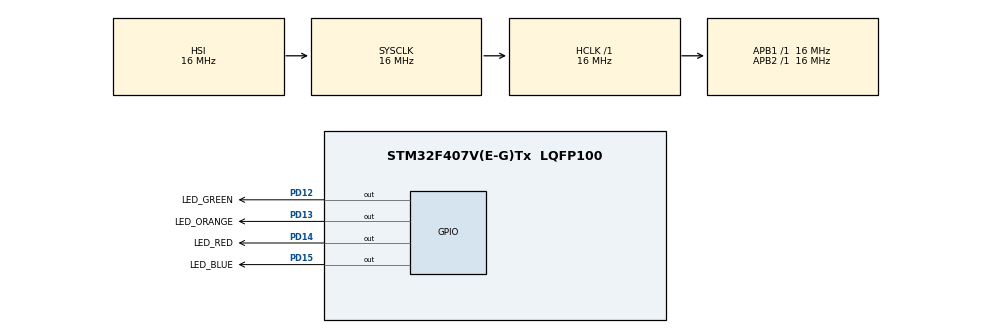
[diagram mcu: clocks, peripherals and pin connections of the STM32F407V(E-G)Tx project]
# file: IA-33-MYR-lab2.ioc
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Mcu.Family=STM32F4
Mcu.Name=STM32F407V(E-G)Tx
Mcu.Package=LQFP100
NVIC.PriorityGroup=NVIC_PRIORITYGROUP_4
NVIC.TIM6_DAC_IRQn=true\:0\:0\:false\:false\:true\:true\:true\:true
PD12.GPIO_Label=LED_GREEN
PD12.Signal=GPIO_Output
PD13.GPIO_Label=LED_ORANGE
PD13.Signal=GPIO_Output
PD14.GPIO_Label=LED_RED
PD14.Signal=GPIO_Output
PD15.GPIO_Label=LED_BLUE
PD15.Signal=GPIO_Output
ProjectManager.HeapSize=0x200
ProjectManager.StackSize=0x400
ProjectManager.TargetToolchain=STM32CubeIDE
RCC.AHBFreq_Value=16000000
RCC.APB1Freq_Value=16000000
RCC.APB1TimFreq_Value=16000000
RCC.APB2Freq_Value=16000000
RCC.APB2TimFreq_Value=16000000
RCC.CortexFreq_Value=16000000
RCC.HCLKFreq_Value=16000000
RCC.HSE_VALUE=25000000
RCC.HSI_VALUE=16000000
RCC.LSE_VALUE=32768
RCC.SYSCLKFreq_VALUE=16000000
RCC.VCOOutputFreq_Value=192000000
TIM6.AutoReloadPreload=TIM_AUTORELOAD_PRELOAD_ENABLE
TIM6.Period=2999
TIM6.Prescaler=7999
TIM6.TIM_MasterOutputTrigger=TIM_TRGO_UPDATE
VP_TIM6_VS_ClockSourceINT.Mode=Enable_Timer
board=custom

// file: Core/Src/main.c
/* USER CODE BEGIN Header */
/**
  ******************************************************************************
  * @file           : main.c
  * @brief          : Main program body
  ******************************************************************************
  * @attention
  *
  * Copyright (c) 2025 STMicroelectronics.
  * All rights reserved.
  *
  * This software is licensed under terms that can be found in the LICENSE file
  * in the root directory of this software component.
  * If no LICENSE file comes with this software, it is provided AS-IS.
  *
  ******************************************************************************
  */
/* USER CODE END Header */
#include "main.h"

/* USER CODE BEGIN PD */
#define LED_SWITCH_DELAY (5000)
/* USER CODE END PD */

TIM_HandleTypeDef htim6;

/* USER CODE BEGIN PV */
unsigned int ledN = 0;
/* USER CODE END PV */

void SystemClock_Config(void);
static void MX_GPIO_Init(void);
static void MX_TIM6_Init(void);
/* USER CODE BEGIN PFP */
void startFlash(uint16_t GPIO_Pin, uint16_t delay);
void flashAllOnce(uint32_t delay);
void flashParallel(uint16_t parallel);
void flashNeighbour(uint16_t neighbour);
/* USER CODE END PFP */

int main(void)
{

  /* MCU Configuration--------------------------------------------------------*/

  /* Reset of all peripherals, Initializes the Flash interface and the Systick. */
  HAL_Init();

  /* Configure the system clock */
  SystemClock_Config();

  /* Initialize all configured peripherals */
  MX_GPIO_Init();
  MX_TIM6_Init();
  HAL_TIM_Base_Start_IT(&htim6);

  /* Infinite loop */
  while (1)
  {
	  switch(ledN) {
	  	  	case 0:
	  	  		uint16_t delay = 150;
	  	  		startFlash(GPIO_PIN_12, delay);
	  	  		startFlash(GPIO_PIN_13, delay);
	  	  		startFlash(GPIO_PIN_14, delay);
	  	  		startFlash(GPIO_PIN_15, delay);
	  	  		break;
	  	  	case 1:
	  	  		flashAllOnce(200);
	  	  		break;
	  	  	case 2:
	  	  		flashParallel(0);
	  	  		flashParallel(1);
	  	  		break;
	  	  	case 3:
	  	  		flashNeighbour(0);
	  	  		flashNeighbour(1);
	  	  }
  }
}

void SystemClock_Config(void)
{
  RCC_OscInitTypeDef RCC_OscInitStruct = {0};
  RCC_ClkInitTypeDef RCC_ClkInitStruct = {0};

  /** Configure the main internal regulator output voltage
  */
  __HAL_RCC_PWR_CLK_ENABLE();
  __HAL_PWR_VOLTAGESCALING_CONFIG(PWR_REGULATOR_VOLTAGE_SCALE1);

  /** Initializes the RCC Oscillators according to the specified parameters
  * in the RCC_OscInitTypeDef structure.
  */
  RCC_OscInitStruct.OscillatorType = RCC_OSCILLATORTYPE_HSI;
  RCC_OscInitStruct.HSIState = RCC_HSI_ON;
  RCC_OscInitStruct.HSICalibrationValue = RCC_HSICALIBRATION_DEFAULT;
  RCC_OscInitStruct.PLL.PLLState = RCC_PLL_NONE;
  if (HAL_RCC_OscConfig(&RCC_OscInitStruct) != HAL_OK)
  {
    Error_Handler();
  }

  /** Initializes the CPU, AHB and APB buses clocks
  */
  RCC_ClkInitStruct.ClockType = RCC_CLOCKTYPE_HCLK|RCC_CLOCKTYPE_SYSCLK
                              |RCC_CLOCKTYPE_PCLK1|RCC_CLOCKTYPE_PCLK2;
  RCC_ClkInitStruct.SYSCLKSource = RCC_SYSCLKSOURCE_HSI;
  RCC_ClkInitStruct.AHBCLKDivider = RCC_SYSCLK_DIV1;
  RCC_ClkInitStruct.APB1CLKDivider = RCC_HCLK_DIV1;
  RCC_ClkInitStruct.APB2CLKDivider = RCC_HCLK_DIV1;

  if (HAL_RCC_ClockConfig(&RCC_ClkInitStruct, FLASH_LATENCY_0) != HAL_OK)
  {
    Error_Handler();
  }
}

static void MX_TIM6_Init(void)
{

  TIM_MasterConfigTypeDef sMasterConfig = {0};

  htim6.Instance = TIM6;
  htim6.Init.Prescaler = 7999;
  htim6.Init.CounterMode = TIM_COUNTERMODE_UP;
  htim6.Init.Period = 2999;
  htim6.Init.AutoReloadPreload = TIM_AUTORELOAD_PRELOAD_ENABLE;
  if (HAL_TIM_Base_Init(&htim6) != HAL_OK)
  {
    Error_Handler();
  }
  sMasterConfig.MasterOutputTrigger = TIM_TRGO_UPDATE;
  sMasterConfig.MasterSlaveMode = TIM_MASTERSLAVEMODE_DISABLE;
  if (HAL_TIMEx_MasterConfigSynchronization(&htim6, &sMasterConfig) != HAL_OK)
  {
    Error_Handler();
  }

}

static void MX_GPIO_Init(void)
{
  GPIO_InitTypeDef GPIO_InitStruct = {0};

  /* GPIO Ports Clock Enable */
  __HAL_RCC_GPIOD_CLK_ENABLE();

  /*Configure GPIO pin Output Level */
  HAL_GPIO_WritePin(GPIOD, LED_GREEN_Pin|LED_ORANGE_Pin|LED_RED_Pin|LED_BLUE_Pin, GPIO_PIN_RESET);

  /*Configure GPIO pins : LED_GREEN_Pin LED_ORANGE_Pin LED_RED_Pin LED_BLUE_Pin */
  GPIO_InitStruct.Pin = LED_GREEN_Pin|LED_ORANGE_Pin|LED_RED_Pin|LED_BLUE_Pin;
  GPIO_InitStruct.Mode = GPIO_MODE_OUTPUT_PP;
  GPIO_InitStruct.Pull = GPIO_NOPULL;
  GPIO_InitStruct.Speed = GPIO_SPEED_FREQ_LOW;
  HAL_GPIO_Init(GPIOD, &GPIO_InitStruct);

}

/* USER CODE BEGIN 4 */
void HAL_TIM_PeriodElapsedCallback(TIM_HandleTypeDef *htim)
{
    if (htim->Instance == TIM6)
    {
        ledN++;
        if (ledN > 3)
            ledN = 0;
    }
}

void startFlash(uint16_t GPIO_Pin, uint16_t delay) {
  HAL_GPIO_WritePin(GPIOD, GPIO_Pin, GPIO_PIN_SET);
  HAL_Delay(delay);
  HAL_GPIO_WritePin(GPIOD, GPIO_Pin, GPIO_PIN_RESET);
  HAL_Delay(delay);
}

void flashAllOnce(uint32_t delay) {
  HAL_GPIO_WritePin(GPIOD, LED_GREEN_Pin, GPIO_PIN_SET);
  HAL_GPIO_WritePin(GPIOD, LED_ORANGE_Pin, GPIO_PIN_SET);
  HAL_GPIO_WritePin(GPIOD, LED_RED_Pin, GPIO_PIN_SET);
  HAL_GPIO_WritePin(GPIOD, LED_BLUE_Pin, GPIO_PIN_SET);
  HAL_Delay(delay);
  HAL_GPIO_WritePin(GPIOD, LED_GREEN_Pin, GPIO_PIN_RESET);
  HAL_GPIO_WritePin(GPIOD, LED_ORANGE_Pin, GPIO_PIN_RESET);
  HAL_GPIO_WritePin(GPIOD, LED_RED_Pin, GPIO_PIN_RESET);
  HAL_GPIO_WritePin(GPIOD, LED_BLUE_Pin, GPIO_PIN_RESET);
  HAL_Delay(delay);
}

void flashParallel(uint16_t parallel) {

	uint16_t led1;
	uint16_t led2;

	if (parallel == 0) {
		led1 = LED_GREEN_Pin;
		led2 = LED_RED_Pin;
	} else if (parallel == 1) {
		led1 = LED_ORANGE_Pin;
		led2 = LED_BLUE_Pin;
	}

	HAL_GPIO_WritePin(GPIOD, led1, GPIO_PIN_SET);
	HAL_GPIO_WritePin(GPIOD, led2, GPIO_PIN_SET);
	HAL_Delay(200);
	HAL_GPIO_WritePin(GPIOD, led1, GPIO_PIN_RESET);
	HAL_GPIO_WritePin(GPIOD, led2, GPIO_PIN_RESET);
	HAL_Delay(200);
}

void flashNeighbour(uint16_t neighbour) {

	uint16_t led1;
	uint16_t led2;

	if (neighbour == 0) {
		led1 = LED_GREEN_Pin;
		led2 = LED_ORANGE_Pin;
	} else if (neighbour == 1) {
		led1 = LED_RED_Pin;
		led2 = LED_BLUE_Pin;
	}

	HAL_GPIO_WritePin(GPIOD, led1, GPIO_PIN_SET);
	HAL_GPIO_WritePin(GPIOD, led2, GPIO_PIN_SET);
	HAL_Delay(200);
	HAL_GPIO_WritePin(GPIOD, led1, GPIO_PIN_RESET);
	HAL_GPIO_WritePin(GPIOD, led2, GPIO_PIN_RESET);
	HAL_Delay(200);
}

/* USER CODE END 4 */

void Error_Handler(void)
{
  __disable_irq();
  while (1)
  {
  }
}
